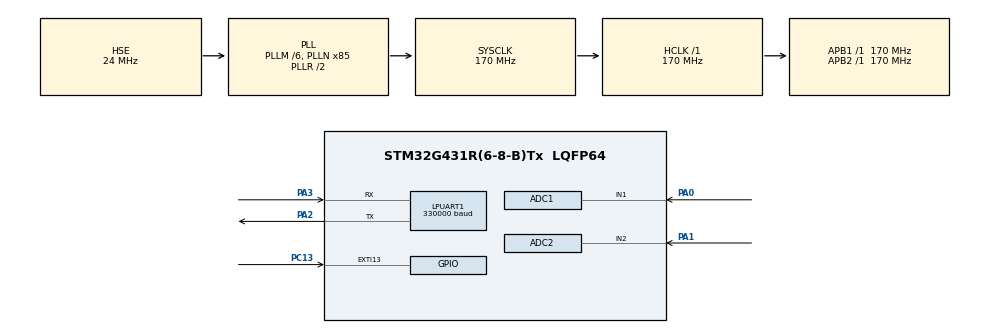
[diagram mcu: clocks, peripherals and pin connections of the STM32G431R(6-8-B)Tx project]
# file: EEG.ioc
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ADC1.Channel-0\#ChannelRegularConversion=ADC_CHANNEL_1
ADC1.ContinuousConvMode=DISABLE
ADC1.DMAAccessModeView=ENABLE
ADC1.DMAContinuousRequests=ENABLE
ADC1.ExternalTrigConv=ADC_EXTERNALTRIG_T2_TRGO
ADC1.Mode=ADC_DUALMODE_INTERL
ADC1.NbrOfConversionFlag=1
ADC1.OffsetNumber-0\#ChannelRegularConversion=ADC_OFFSET_NONE
ADC1.Rank-0\#ChannelRegularConversion=1
ADC1.SamplingTime-0\#ChannelRegularConversion=ADC_SAMPLETIME_2CYCLES_5
ADC1.master=1
ADC2.Channel-0\#ChannelRegularConversion=ADC_CHANNEL_2
ADC2.DMAAccessModeView=ENABLE
ADC2.Mode=ADC_DUALMODE_INTERL
ADC2.NbrOfConversionFlag=1
ADC2.OffsetNumber-0\#ChannelRegularConversion=ADC_OFFSET_NONE
ADC2.Rank-0\#ChannelRegularConversion=1
ADC2.SamplingTime-0\#ChannelRegularConversion=ADC_SAMPLETIME_2CYCLES_5
Dma.ADC1.0.Direction=DMA_PERIPH_TO_MEMORY
Dma.ADC1.0.EventEnable=DISABLE
Dma.ADC1.0.Instance=DMA1_Channel1
Dma.ADC1.0.MemDataAlignment=DMA_MDATAALIGN_WORD
Dma.ADC1.0.MemInc=DMA_MINC_ENABLE
Dma.ADC1.0.Mode=DMA_CIRCULAR
Dma.ADC1.0.PeriphDataAlignment=DMA_PDATAALIGN_WORD
Dma.ADC1.0.PeriphInc=DMA_PINC_DISABLE
Dma.ADC1.0.Polarity=HAL_DMAMUX_REQ_GEN_RISING
Dma.ADC1.0.Priority=DMA_PRIORITY_LOW
Dma.ADC1.0.RequestNumber=1
Dma.ADC1.0.SignalID=NONE
Dma.ADC1.0.SyncEnable=DISABLE
Dma.ADC1.0.SyncPolarity=HAL_DMAMUX_SYNC_NO_EVENT
Dma.ADC1.0.SyncRequestNumber=1
Dma.ADC1.0.SyncSignalID=NONE
Dma.Request0=ADC1
FREERTOS.Tasks01=FilterTask,1,256,StartFilterTask,Default,NULL,Dynamic,NULL,NULL
FREERTOS.configENABLE_FPU=1
FREERTOS.configTOTAL_HEAP_SIZE=12288
FREERTOS.configUSE_IDLE_HOOK=1
FREERTOS.configUSE_NEWLIB_REENTRANT=1
FREERTOS.configUSE_TIMERS=1
LPUART1.BaudRate=330000
Mcu.Family=STM32G4
Mcu.Name=STM32G431R(6-8-B)Tx
Mcu.Package=LQFP64
NVIC.ADC1_2_IRQn=true\:5\:0\:false\:false\:true\:true\:true\:true\:true
NVIC.DMA1_Channel1_IRQn=true\:5\:0\:false\:false\:true\:true\:false\:true\:true
NVIC.EXTI15_10_IRQn=true\:5\:0\:false\:false\:true\:true\:true\:true\:true
NVIC.PriorityGroup=NVIC_PRIORITYGROUP_4
NVIC.TIM1_TRG_COM_TIM17_IRQn=true\:15\:0\:false\:false\:true\:false\:false\:true\:true
NVIC.TIM2_IRQn=true\:5\:0\:false\:false\:true\:true\:true\:true\:true
NVIC.TimeBase=TIM1_TRG_COM_TIM17_IRQn
NVIC.TimeBaseIP=TIM17
PA0.Mode=IN1-Single-Ended
PA0.Signal=ADC1_IN1
PA1.Mode=IN2-Single-Ended
PA1.Signal=ADC2_IN2
PA13.Mode=Serial_Wire
PA13.Signal=SYS_JTMS-SWDIO
PA14.Mode=Serial_Wire
PA14.Signal=SYS_JTCK-SWCLK
PA2.Mode=Asynchronous
PA2.Signal=LPUART1_TX
PA3.Mode=Asynchronous
PA3.Signal=LPUART1_RX
PC13.Signal=GPXTI13
PF0-OSC_IN.Mode=HSE-External-Oscillator
PF0-OSC_IN.Signal=RCC_OSC_IN
PF1-OSC_OUT.Mode=HSE-External-Oscillator
PF1-OSC_OUT.Signal=RCC_OSC_OUT
ProjectManager.HeapSize=0x200
ProjectManager.StackSize=0x400
ProjectManager.TargetToolchain=STM32CubeIDE
RCC.ADC12Freq_Value=170000000
RCC.AHBFreq_Value=170000000
RCC.APB1Freq_Value=170000000
RCC.APB1TimFreq_Value=170000000
RCC.APB2Freq_Value=170000000
RCC.APB2TimFreq_Value=170000000
RCC.CortexFreq_Value=170000000
RCC.EXTERNAL_CLOCK_VALUE=12288000
RCC.HCLKFreq_Value=170000000
RCC.HSE_VALUE=24000000
RCC.HSI48_VALUE=48000000
RCC.HSI_VALUE=16000000
RCC.LSE_VALUE=32768
RCC.PLLM=RCC_PLLM_DIV6
RCC.PLLN=85
RCC.PLLSourceVirtual=RCC_PLLSOURCE_HSE
RCC.SYSCLKFreq_VALUE=170000000
RCC.SYSCLKSource=RCC_SYSCLKSOURCE_PLLCLK
RCC.USBFreq_Value=170000000
RCC.VCOOutputFreq_Value=340000000
TIM2.PeriodNoDither=51515 - 1
TIM2.TIM_MasterOutputTrigger=TIM_TRGO_UPDATE
VP_FREERTOS_VS_CMSIS_V1.Mode=CMSIS_V1
VP_SYS_VS_DBSignals.Mode=DisableDeadBatterySignals
VP_SYS_VS_tim17.Mode=TIM17
VP_TIM2_VS_ClockSourceINT.Mode=Internal
board=custom

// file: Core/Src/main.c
/* USER CODE BEGIN Header */
/**
 ******************************************************************************
 * @file           : main.c
 * @brief          : Main program body
 ******************************************************************************
 * @attention
 *
 * Copyright (c) 2025 STMicroelectronics.
 * All rights reserved.
 *
 * This software is licensed under terms that can be found in the LICENSE file
 * in the root directory of this software component.
 * If no LICENSE file comes with this software, it is provided AS-IS.
 *
 ******************************************************************************
 */
/* USER CODE END Header */
#include "main.h"
#include "cmsis_os.h"

/* USER CODE BEGIN Includes */
#include "filter.h"
/* USER CODE END Includes */

/* USER CODE BEGIN PTD */
typedef struct {
	float ch1;
	float ch2;
} FilteredData;
/* USER CODE END PTD */

/* USER CODE BEGIN PD */
// Constantes usadas
#define FS 3302.0f  // frequência de amostragem do sinal

// Conversão do AD
#define NUMBER_OF_AQ 1
#define NUMBER_OF_AD 2
#define ADC12_TO_VOLTAGE 0.000805861
#define ADC16_TO_VOLTAGE 0.000050355

// Configurações do filtro notch
#define FC_NOTCH 60.0f    // frequência central rejeitada
#define BW 1.0f     // largura de banda

// Filtro passa baixa
#define FC_LP 160.0f
#define Q 0.707f

/* USER CODE END PD */

ADC_HandleTypeDef hadc1;
ADC_HandleTypeDef hadc2;
DMA_HandleTypeDef hdma_adc1;

UART_HandleTypeDef hlpuart1;

TIM_HandleTypeDef htim2;

osThreadId FilterTaskHandle;
/* USER CODE BEGIN PV */
// como é alocada para o DMA n precisa ser volatile (https://community.st.com/t5/stm32-mcus-embedded-software/should-dma-variables-be-volatile/td-p/794260)
uint16_t adc_dual_buffer[NUMBER_OF_AQ * NUMBER_OF_AD];
BiquadFilter notch_filter_AD1, notch_filter_AD2, lp_filter_AD1, lp_filter_AD2;
volatile float filtered_ad1, filtered_ad2;
SemaphoreHandle_t sem_uart = NULL;
SemaphoreHandle_t sem_ad = NULL;
QueueHandle_t queue_tx = NULL;
TimerHandle_t btn_c13_debounce;
volatile uint8_t is_low_power_mode = 0;

volatile uint32_t teste = 0;
/* USER CODE END PV */

void SystemClock_Config(void);
static void MX_GPIO_Init(void);
static void MX_DMA_Init(void);
static void MX_ADC1_Init(void);
static void MX_ADC2_Init(void);
static void MX_TIM2_Init(void);
static void MX_LPUART1_UART_Init(void);
void StartFilterTask(void const * argument);

/* USER CODE BEGIN PFP */
void check_status(HAL_StatusTypeDef status);

// FreeRTOS config param: USE_IDLE_HOOK enable
void vApplicationIdleHook(void)
{
    if (!is_low_power_mode)   // só usar no modo automático
    {
    	// Wait For Interrupt
        // garante que acorda via ADC, UART, EXTI, etc
        __WFI();   // CPU entra em sleep até próxima interrupção
    }
}

void init_adc_tim2(void)
{
	HAL_ADCEx_Calibration_Start(&hadc1, ADC_SINGLE_ENDED);
	HAL_ADCEx_Calibration_Start(&hadc2, ADC_SINGLE_ENDED);

	check_status(HAL_ADC_Start(&hadc2));
	check_status(
			HAL_ADCEx_MultiModeStart_DMA(&hadc1, (uint32_t*) adc_dual_buffer,
			NUMBER_OF_AQ));

	HAL_TIM_Base_Start(&htim2);
}

/*
 * toggle_power_mode():
 *
 * Alterna entre modo normal e modo de baixo consumo (STOP1).
 *
 * Quando entra em STOP1:
 * - Marca que está em low-power.
 * - Para temporizadores, ADCs e DMA para reduzir consumo.
 * - Desabilita clocks dos ADCs e DMA.
 * - Limpa e habilita EXTI para permitir despertar por interrupção.
 * - Suspende o SysTick (economia extra).
 * - Entra em STOP1 (CPU dorme até interrupção).
 *
 * Ao acordar do STOP1:
 * - Retoma SysTick.
 *
 * Quando retorna ao modo normal:
 * - Marca que saiu do low-power.
 * - Reconfigura o clock (essencial após STOP).
 * - Reabilita clocks dos periféricos.
 * - Recalibra e reinicia ADCs + DMA.
 * - Reinicia temporizador.
 */
void toggle_power_mode(void)
{
	if (!is_low_power_mode)
	    {
	        is_low_power_mode = 1;

	        // parar timers, ADCs, UART, DMA (para economizar energia)
	        HAL_TIM_Base_Stop(&htim2);
	        HAL_ADC_Stop_DMA(&hadc1);
	        HAL_ADC_Stop(&hadc2);

	        __HAL_RCC_ADC12_CLK_DISABLE();
	        __HAL_RCC_DMA1_CLK_DISABLE();

	        // Limpa interrupções pendentes
	        __HAL_GPIO_EXTI_CLEAR_IT(GPIO_PIN_13);

	        // Habilita EXTI para acordar
	        HAL_NVIC_EnableIRQ(EXTI15_10_IRQn);

	        // Entra em modo STOP1
	        HAL_SuspendTick();   // reduz consumo
	        // Sem SysTick não existe troca de contexto -> FreeRTOS congela
	        HAL_PWREx_EnterSTOP1Mode(PWR_STOPENTRY_WFI);

	        // ---- quando acordar do STOP, continua daqui ----
	        HAL_ResumeTick();
	    }
	    else
	    {
	        is_low_power_mode = 0;

	        SystemClock_Config();   // STOP destrói o clock -> iniciar de novo

	        __HAL_RCC_DMA1_CLK_ENABLE();
	        __HAL_RCC_ADC12_CLK_ENABLE();

	        // reconfigura ADC + DMA
	        init_adc_tim2();
	    }
}

void btn_c13_callback(TimerHandle_t xTimer)
{
	// entrar/sair de Low Power Mode
	toggle_power_mode();
	HAL_NVIC_EnableIRQ(EXTI15_10_IRQn);  // Reabilita interrupções
}

void HAL_GPIO_EXTI_Callback(uint16_t GPIO_Pin)
{
	if(GPIO_Pin == GPIO_PIN_13)
	{
		BaseType_t pxHigherPriorityTaskWoken = pdFALSE;
		HAL_NVIC_DisableIRQ(EXTI15_10_IRQn);  // Desabilita interrupções
		xTimerStartFromISR(btn_c13_debounce, &pxHigherPriorityTaskWoken);
		portYIELD_FROM_ISR(pxHigherPriorityTaskWoken);
	}
}

void HAL_ADC_ConvCpltCallback(ADC_HandleTypeDef *hadc) {
	// Ao ler AD abre o semaforo
	BaseType_t xHigherPriorityTaskWoken = pdFALSE;
	xSemaphoreGiveFromISR(sem_ad, &xHigherPriorityTaskWoken);
	portYIELD_FROM_ISR(xHigherPriorityTaskWoken);
}

void HAL_UART_TxCpltCallback(UART_HandleTypeDef *huart) {
	BaseType_t pxHigherPriorityTaskWoken = pdFALSE;
	xSemaphoreGiveFromISR(sem_uart, &pxHigherPriorityTaskWoken);
	portYIELD_FROM_ISR(pxHigherPriorityTaskWoken); //
}

void SendDataTask(void *param) {
	FilteredData ad_data;
	const uint8_t start = '$';
	const uint8_t end = '\n';
	const uint8_t uint8_size = sizeof(uint8_t);
	const uint8_t data_block_size = sizeof(FilteredData);

	while (1) {
		if (xQueueReceive(queue_tx, &ad_data, portMAX_DELAY) == pdPASS) {
			HAL_UART_Transmit(&hlpuart1, &start, uint8_size, HAL_MAX_DELAY);
			HAL_UART_Transmit(&hlpuart1, (uint8_t*) &ad_data, data_block_size,
					HAL_MAX_DELAY);
			HAL_UART_Transmit(&hlpuart1, &end, uint8_size, HAL_MAX_DELAY);
			teste++;
		}
		taskYIELD();
	}
}

/* USER CODE END PFP */

int main(void)
{

  /* MCU Configuration--------------------------------------------------------*/

  /* Reset of all peripherals, Initializes the Flash interface and the Systick. */
  HAL_Init();

  /* Configure the system clock */
  SystemClock_Config();

  /* Initialize all configured peripherals */
  MX_GPIO_Init();
  MX_DMA_Init();
  MX_ADC1_Init();
  MX_ADC2_Init();
  MX_TIM2_Init();
  MX_LPUART1_UART_Init();
  /* USER CODE BEGIN 2 */

	init_notch_filter(&notch_filter_AD1, FS, FC_NOTCH, BW);
	init_notch_filter(&notch_filter_AD2, FS, FC_NOTCH, BW);

	init_lp_filter(&lp_filter_AD1, FS, FC_LP, Q);
	init_lp_filter(&lp_filter_AD2, FS, FC_LP, Q);

	init_adc_tim2();

  /* USER CODE END 2 */

  /* USER CODE BEGIN RTOS_SEMAPHORES */
	/* add semaphores, ... */
	sem_uart = xSemaphoreCreateBinary();
	sem_ad = xSemaphoreCreateBinary();
  /* USER CODE END RTOS_SEMAPHORES */

  /* USER CODE BEGIN RTOS_TIMERS */
	/* start timers, add new ones, ... */
	btn_c13_debounce = xTimerCreate("BTN13 debounce", 50, pdFALSE, NULL, btn_c13_callback);
  /* USER CODE END RTOS_TIMERS */

  /* USER CODE BEGIN RTOS_QUEUES */
	/* add queues, ... */
	queue_tx = xQueueCreate(32, sizeof(FilteredData));
  /* USER CODE END RTOS_QUEUES */

  /* Create the thread(s) */
  /* definition and creation of FilterTask */
  osThreadDef(FilterTask, StartFilterTask, osPriorityAboveNormal, 0, 256);
  FilterTaskHandle = osThreadCreate(osThread(FilterTask), NULL);

  /* USER CODE BEGIN RTOS_THREADS */
	/* add threads, ... */
	xTaskCreate(SendDataTask, "SendData", 256, NULL, 0, NULL);
  /* USER CODE END RTOS_THREADS */

  /* Start scheduler */
  osKernelStart();

  /* We should never get here as control is now taken by the scheduler */

  /* Infinite loop */
	while (1) {

	}
}

void SystemClock_Config(void)
{
  RCC_OscInitTypeDef RCC_OscInitStruct = {0};
  RCC_ClkInitTypeDef RCC_ClkInitStruct = {0};

  /** Configure the main internal regulator output voltage
  */
  HAL_PWREx_ControlVoltageScaling(PWR_REGULATOR_VOLTAGE_SCALE1_BOOST);

  /** Initializes the RCC Oscillators according to the specified parameters
  * in the RCC_OscInitTypeDef structure.
  */
  RCC_OscInitStruct.OscillatorType = RCC_OSCILLATORTYPE_HSE;
  RCC_OscInitStruct.HSEState = RCC_HSE_ON;
  RCC_OscInitStruct.PLL.PLLState = RCC_PLL_ON;
  RCC_OscInitStruct.PLL.PLLSource = RCC_PLLSOURCE_HSE;
  RCC_OscInitStruct.PLL.PLLM = RCC_PLLM_DIV6;
  RCC_OscInitStruct.PLL.PLLN = 85;
  RCC_OscInitStruct.PLL.PLLP = RCC_PLLP_DIV2;
  RCC_OscInitStruct.PLL.PLLQ = RCC_PLLQ_DIV2;
  RCC_OscInitStruct.PLL.PLLR = RCC_PLLR_DIV2;
  if (HAL_RCC_OscConfig(&RCC_OscInitStruct) != HAL_OK)
  {
    Error_Handler();
  }

  /** Initializes the CPU, AHB and APB buses clocks
  */
  RCC_ClkInitStruct.ClockType = RCC_CLOCKTYPE_HCLK|RCC_CLOCKTYPE_SYSCLK
                              |RCC_CLOCKTYPE_PCLK1|RCC_CLOCKTYPE_PCLK2;
  RCC_ClkInitStruct.SYSCLKSource = RCC_SYSCLKSOURCE_PLLCLK;
  RCC_ClkInitStruct.AHBCLKDivider = RCC_SYSCLK_DIV1;
  RCC_ClkInitStruct.APB1CLKDivider = RCC_HCLK_DIV1;
  RCC_ClkInitStruct.APB2CLKDivider = RCC_HCLK_DIV1;

  if (HAL_RCC_ClockConfig(&RCC_ClkInitStruct, FLASH_LATENCY_4) != HAL_OK)
  {
    Error_Handler();
  }
}

static void MX_ADC1_Init(void)
{

  ADC_MultiModeTypeDef multimode = {0};
  ADC_ChannelConfTypeDef sConfig = {0};

  /** Common config
  */
  hadc1.Instance = ADC1;
  hadc1.Init.ClockPrescaler = ADC_CLOCK_SYNC_PCLK_DIV4;
  hadc1.Init.Resolution = ADC_RESOLUTION_12B;
  hadc1.Init.DataAlign = ADC_DATAALIGN_RIGHT;
  hadc1.Init.GainCompensation = 0;
  hadc1.Init.ScanConvMode = ADC_SCAN_DISABLE;
  hadc1.Init.EOCSelection = ADC_EOC_SINGLE_CONV;
  hadc1.Init.LowPowerAutoWait = DISABLE;
  hadc1.Init.ContinuousConvMode = DISABLE;
  hadc1.Init.NbrOfConversion = 1;
  hadc1.Init.DiscontinuousConvMode = DISABLE;
  hadc1.Init.ExternalTrigConv = ADC_EXTERNALTRIG_T2_TRGO;
  hadc1.Init.ExternalTrigConvEdge = ADC_EXTERNALTRIGCONVEDGE_RISING;
  hadc1.Init.DMAContinuousRequests = ENABLE;
  hadc1.Init.Overrun = ADC_OVR_DATA_PRESERVED;
  hadc1.Init.OversamplingMode = DISABLE;
  if (HAL_ADC_Init(&hadc1) != HAL_OK)
  {
    Error_Handler();
  }

  /** Configure the ADC multi-mode
  */
  multimode.Mode = ADC_DUALMODE_INTERL;
  multimode.DMAAccessMode = ADC_DMAACCESSMODE_12_10_BITS;
  multimode.TwoSamplingDelay = ADC_TWOSAMPLINGDELAY_1CYCLE;
  if (HAL_ADCEx_MultiModeConfigChannel(&hadc1, &multimode) != HAL_OK)
  {
    Error_Handler();
  }

  /** Configure Regular Channel
  */
  sConfig.Channel = ADC_CHANNEL_1;
  sConfig.Rank = ADC_REGULAR_RANK_1;
  sConfig.SamplingTime = ADC_SAMPLETIME_2CYCLES_5;
  sConfig.SingleDiff = ADC_SINGLE_ENDED;
  sConfig.OffsetNumber = ADC_OFFSET_NONE;
  sConfig.Offset = 0;
  if (HAL_ADC_ConfigChannel(&hadc1, &sConfig) != HAL_OK)
  {
    Error_Handler();
  }

}

static void MX_ADC2_Init(void)
{

  ADC_ChannelConfTypeDef sConfig = {0};

  /** Common config
  */
  hadc2.Instance = ADC2;
  hadc2.Init.ClockPrescaler = ADC_CLOCK_SYNC_PCLK_DIV4;
  hadc2.Init.Resolution = ADC_RESOLUTION_12B;
  hadc2.Init.DataAlign = ADC_DATAALIGN_RIGHT;
  hadc2.Init.GainCompensation = 0;
  hadc2.Init.ScanConvMode = ADC_SCAN_DISABLE;
  hadc2.Init.EOCSelection = ADC_EOC_SINGLE_CONV;
  hadc2.Init.LowPowerAutoWait = DISABLE;
  hadc2.Init.ContinuousConvMode = DISABLE;
  hadc2.Init.NbrOfConversion = 1;
  hadc2.Init.DiscontinuousConvMode = DISABLE;
  hadc2.Init.DMAContinuousRequests = DISABLE;
  hadc2.Init.Overrun = ADC_OVR_DATA_PRESERVED;
  hadc2.Init.OversamplingMode = DISABLE;
  if (HAL_ADC_Init(&hadc2) != HAL_OK)
  {
    Error_Handler();
  }

  /** Configure Regular Channel
  */
  sConfig.Channel = ADC_CHANNEL_2;
  sConfig.Rank = ADC_REGULAR_RANK_1;
  sConfig.SamplingTime = ADC_SAMPLETIME_2CYCLES_5;
  sConfig.SingleDiff = ADC_SINGLE_ENDED;
  sConfig.OffsetNumber = ADC_OFFSET_NONE;
  sConfig.Offset = 0;
  if (HAL_ADC_ConfigChannel(&hadc2, &sConfig) != HAL_OK)
  {
    Error_Handler();
  }

}

static void MX_LPUART1_UART_Init(void)
{

  hlpuart1.Instance = LPUART1;
  hlpuart1.Init.BaudRate = 330000;
  hlpuart1.Init.WordLength = UART_WORDLENGTH_8B;
  hlpuart1.Init.StopBits = UART_STOPBITS_1;
  hlpuart1.Init.Parity = UART_PARITY_NONE;
  hlpuart1.Init.Mode = UART_MODE_TX_RX;
  hlpuart1.Init.HwFlowCtl = UART_HWCONTROL_NONE;
  hlpuart1.Init.OneBitSampling = UART_ONE_BIT_SAMPLE_DISABLE;
  hlpuart1.Init.ClockPrescaler = UART_PRESCALER_DIV1;
  hlpuart1.AdvancedInit.AdvFeatureInit = UART_ADVFEATURE_NO_INIT;
  if (HAL_UART_Init(&hlpuart1) != HAL_OK)
  {
    Error_Handler();
  }
  if (HAL_UARTEx_SetTxFifoThreshold(&hlpuart1, UART_TXFIFO_THRESHOLD_1_8) != HAL_OK)
  {
    Error_Handler();
  }
  if (HAL_UARTEx_SetRxFifoThreshold(&hlpuart1, UART_RXFIFO_THRESHOLD_1_8) != HAL_OK)
  {
    Error_Handler();
  }
  if (HAL_UARTEx_DisableFifoMode(&hlpuart1) != HAL_OK)
  {
    Error_Handler();
  }

}

static void MX_TIM2_Init(void)
{

  TIM_ClockConfigTypeDef sClockSourceConfig = {0};
  TIM_MasterConfigTypeDef sMasterConfig = {0};

  htim2.Instance = TIM2;
  htim2.Init.Prescaler = 0;
  htim2.Init.CounterMode = TIM_COUNTERMODE_UP;
  htim2.Init.Period = 51514;
  htim2.Init.ClockDivision = TIM_CLOCKDIVISION_DIV1;
  htim2.Init.AutoReloadPreload = TIM_AUTORELOAD_PRELOAD_DISABLE;
  if (HAL_TIM_Base_Init(&htim2) != HAL_OK)
  {
    Error_Handler();
  }
  sClockSourceConfig.ClockSource = TIM_CLOCKSOURCE_INTERNAL;
  if (HAL_TIM_ConfigClockSource(&htim2, &sClockSourceConfig) != HAL_OK)
  {
    Error_Handler();
  }
  sMasterConfig.MasterOutputTrigger = TIM_TRGO_UPDATE;
  sMasterConfig.MasterSlaveMode = TIM_MASTERSLAVEMODE_DISABLE;
  if (HAL_TIMEx_MasterConfigSynchronization(&htim2, &sMasterConfig) != HAL_OK)
  {
    Error_Handler();
  }

}

static void MX_DMA_Init(void)
{

  /* DMA controller clock enable */
  __HAL_RCC_DMAMUX1_CLK_ENABLE();
  __HAL_RCC_DMA1_CLK_ENABLE();

  /* DMA interrupt init */
  /* DMA1_Channel1_IRQn interrupt configuration */
  HAL_NVIC_SetPriority(DMA1_Channel1_IRQn, 5, 0);
  HAL_NVIC_EnableIRQ(DMA1_Channel1_IRQn);

}

static void MX_GPIO_Init(void)
{
  GPIO_InitTypeDef GPIO_InitStruct = {0};

  /* GPIO Ports Clock Enable */
  __HAL_RCC_GPIOC_CLK_ENABLE();
  __HAL_RCC_GPIOF_CLK_ENABLE();
  __HAL_RCC_GPIOA_CLK_ENABLE();

  /*Configure GPIO pin : PC13 */
  GPIO_InitStruct.Pin = GPIO_PIN_13;
  GPIO_InitStruct.Mode = GPIO_MODE_IT_RISING;
  GPIO_InitStruct.Pull = GPIO_NOPULL;
  HAL_GPIO_Init(GPIOC, &GPIO_InitStruct);

  /* EXTI interrupt init*/
  HAL_NVIC_SetPriority(EXTI15_10_IRQn, 5, 0);
  HAL_NVIC_EnableIRQ(EXTI15_10_IRQn);

}

/* USER CODE BEGIN 4 */
void check_status(HAL_StatusTypeDef status) {
	if (status != HAL_OK)
		Error_Handler();
}

/* USER CODE END 4 */

void StartFilterTask(void const * argument)
{
  /* USER CODE BEGIN 5 */
	/* Infinite loop */
	for (;;) {
		// se estiver aberto pega para si e fecha
		xSemaphoreTake(sem_ad, portMAX_DELAY);
		float ad1 = adc_dual_buffer[0] * ADC12_TO_VOLTAGE;
		float ad2 = adc_dual_buffer[1] * ADC12_TO_VOLTAGE;

		filtered_ad1 = apply_filter(&notch_filter_AD1, ad1);
		filtered_ad2 = apply_filter(&notch_filter_AD2, ad2);
		filtered_ad1 = apply_filter(&lp_filter_AD1, filtered_ad1);
		filtered_ad2 = apply_filter(&lp_filter_AD2, filtered_ad2);

		FilteredData data = { filtered_ad1, filtered_ad2 };
		xQueueSend(queue_tx, &data, 0);
	}
  /* USER CODE END 5 */
}

void HAL_TIM_PeriodElapsedCallback(TIM_HandleTypeDef *htim)
{
  if (htim->Instance == TIM17)
  {
    HAL_IncTick();
  }
}

void Error_Handler(void)
{
	__disable_irq();
	while (1) {
	}
}

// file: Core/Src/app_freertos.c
/* USER CODE BEGIN Header */
/**
  ******************************************************************************
  * File Name          : app_freertos.c
  * Description        : Code for freertos applications
  ******************************************************************************
  * @attention
  *
  * Copyright (c) 2025 STMicroelectronics.
  * All rights reserved.
  *
  * This software is licensed under terms that can be found in the LICENSE file
  * in the root directory of this software component.
  * If no LICENSE file comes with this software, it is provided AS-IS.
  *
  ******************************************************************************
  */
/* USER CODE END Header */

#include "FreeRTOS.h"
#include "task.h"
#include "main.h"

/* Hook prototypes */
void vApplicationIdleHook(void);

/* USER CODE BEGIN 2 */
__weak void vApplicationIdleHook( void )
{
   /* vApplicationIdleHook() will only be called if configUSE_IDLE_HOOK is set
   to 1 in FreeRTOSConfig.h. It will be called on each iteration of the idle
   task. It is essential that code added to this hook function never attempts
   to block in any way (for example, call xQueueReceive() with a block time
   specified, or call vTaskDelay()). If the application makes use of the
   vTaskDelete() API function (as this demo application does) then it is also
   important that vApplicationIdleHook() is permitted to return to its calling
   function, because it is the responsibility of the idle task to clean up
   memory allocated by the kernel to any task that has since been deleted. */
}
/* USER CODE END 2 */
